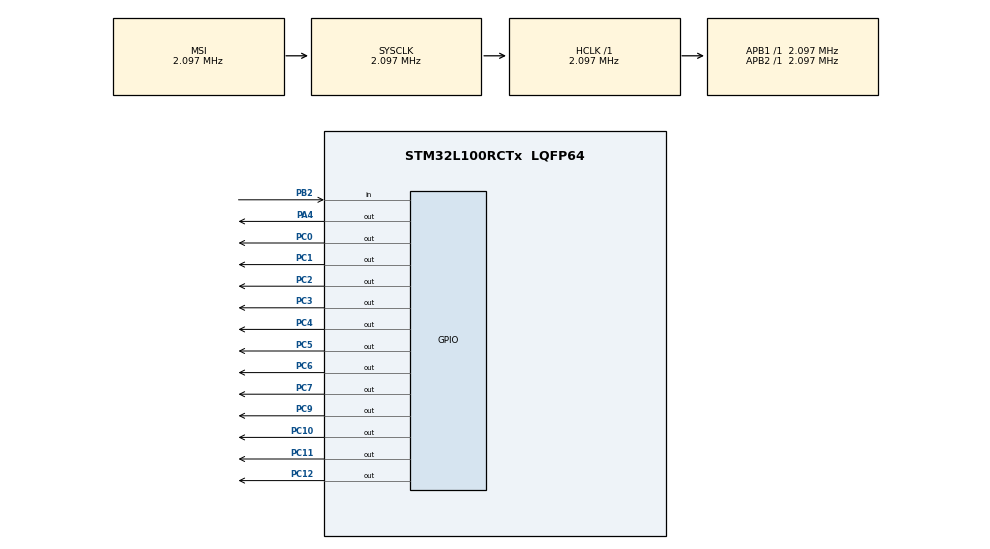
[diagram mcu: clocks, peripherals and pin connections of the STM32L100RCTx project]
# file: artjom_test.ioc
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Mcu.Family=STM32L1
Mcu.Name=STM32L100RCTx
Mcu.Package=LQFP64
NVIC.PriorityGroup=NVIC_PRIORITYGROUP_4
PA4.Signal=GPIO_Output
PB2.Signal=GPIO_Input
PC0.Signal=GPIO_Output
PC1.Signal=GPIO_Output
PC10.Signal=GPIO_Output
PC11.Signal=GPIO_Output
PC12.Signal=GPIO_Output
PC2.Signal=GPIO_Output
PC3.Signal=GPIO_Output
PC4.Signal=GPIO_Output
PC5.Signal=GPIO_Output
PC6.Signal=GPIO_Output
PC7.Signal=GPIO_Output
PC9.Signal=GPIO_Output
ProjectManager.HeapSize=0x200
ProjectManager.StackSize=0x400
ProjectManager.TargetToolchain=STM32CubeIDE
RCC.48MHZClocksFreq_Value=32000000
RCC.AHBFreq_Value=2097000
RCC.APB1Freq_Value=2097000
RCC.APB1TimFreq_Value=2097000
RCC.APB2Freq_Value=2097000
RCC.APB2TimFreq_Value=2097000
RCC.HCLKFreq_Value=2097000
RCC.HSE_VALUE=24000000
RCC.HSI_VALUE=16000000
RCC.LSE_VALUE=32768
RCC.MSI_VALUE=2097000
RCC.PLLDIV=RCC_PLL_DIV3
RCC.PLLMUL=RCC_PLL_MUL4
RCC.RTCClockSelection=RCC_RTCCLKSOURCE_LSI
RCC.RTCClockSelectionVirtual=RCC_RTCCLKSOURCE_LSE
RCC.SYSCLKFreq_VALUE=2097000
RCC.VCOOutputFreq_Value=64000000
board=custom

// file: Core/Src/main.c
/* USER CODE BEGIN Header */
/**
  ******************************************************************************
  * @file           : main.c
  * @brief          : Main program body
  ******************************************************************************
  * @attention
  *
  * Copyright (c) 2024 STMicroelectronics.
  * All rights reserved.
  *
  * This software is licensed under terms that can be found in the LICENSE file
  * in the root directory of this software component.
  * If no LICENSE file comes with this software, it is provided AS-IS.
  *
  ******************************************************************************
  */
/* USER CODE END Header */
#include "main.h"

/* USER CODE BEGIN PTD */
#define byte unsigned int
#define bit int
/* USER CODE END PTD */

void SystemClock_Config(void);
static void MX_GPIO_Init(void);
/* USER CODE BEGIN PFP */

const uint16_t pins = { GPIO_PIN_0, GPIO_PIN_1, GPIO_PIN_2, GPIO_PIN_3, GPIO_PIN_4, GPIO_PIN_5, GPIO_PIN_6, GPIO_PIN_7, GPIO_PIN_8, GPIO_PIN_9 };

const int Logo122[4][122]=//122x32 pixel, каждые 8 вертикальных точек собраны в байт
	{
		{	0x0E,0x11,0x21,0x42,0x84,0x42,0x21,0x11,0x0E,0x00,0x00,0x00,0x00,0x00,0x00,0x00,
			0x0E,0x11,0x21,0x42,0x84,0x42,0x21,0x11,0x0E,0x00,0x00,0x00,0x00,0x00,0x00,0x00,
			0x0E,0x11,0x21,0x42,0x84,0x42,0x21,0x11,0x0E,0x00,0x00,0x00,0x00,0x00,0x00,0x00,
			0x0E,0x11,0x21,0x42,0x84,0x42,0x21,0x11,0x0E,0x00,0x00,0x00,0x00,0x00,0x00,0x00,
			0x0E,0x11,0x21,0x42,0x84,0x42,0x21,0x11,0x0E,0x00,0x00,0x00,0x00,0x00,0x00,0x00,
			0x0E,0x11,0x21,0x42,0x84,0x42,0x21,0x11,0x0E,0x00,0x00,0x00,0x00,0x00,0x00,0x00,
			0x0E,0x11,0x21,0x42,0x84,0x42,0x21,0x11,0x0E,0x00,0x00,0x00,0x00,0x00,0x00,0x00,
			0x0E,0x11,0x21,0x42,0x84,0x42,0x21,0x11,0x0E,0x00
		},
		{	0x0E,0x11,0x21,0x42,0x84,0x42,0x21,0x11,0x0E,0x00,0x00,0x00,0x00,0x00,0x00,0x00,
			0x0E,0x11,0x21,0x42,0x84,0x42,0x21,0x11,0x0E,0x00,0x00,0x00,0x00,0x00,0x00,0x00,
			0x0E,0x11,0x21,0x42,0x84,0x42,0x21,0x11,0x0E,0x00,0x00,0x00,0x00,0x00,0x00,0x00,
			0x0E,0x11,0x21,0x42,0x84,0x42,0x21,0x11,0x0E,0x00,0x00,0x00,0x00,0x00,0x00,0x00,
			0x0E,0x11,0x21,0x42,0x84,0x42,0x21,0x11,0x0E,0x00,0x00,0x00,0x00,0x00,0x00,0x00,
			0x0E,0x11,0x21,0x42,0x84,0x42,0x21,0x11,0x0E,0x00,0x00,0x00,0x00,0x00,0x00,0x00,
			0x0E,0x11,0x21,0x42,0x84,0x42,0x21,0x11,0x0E,0x00,0x00,0x00,0x00,0x00,0x00,0x00,
			0x0E,0x11,0x21,0x42,0x84,0x42,0x21,0x11,0x0E,0x00
		},
		{	0x0E,0x11,0x21,0x42,0x84,0x42,0x21,0x11,0x0E,0x00,0x00,0x00,0x00,0x00,0x00,0x00,
			0x0E,0x11,0x21,0x42,0x84,0x42,0x21,0x11,0x0E,0x00,0x00,0x00,0x00,0x00,0x00,0x00,
			0x0E,0x11,0x21,0x42,0x84,0x42,0x21,0x11,0x0E,0x00,0x00,0x00,0x00,0x00,0x00,0x00,
			0x0E,0x11,0x21,0x42,0x84,0x42,0x21,0x11,0x0E,0x00,0x00,0x00,0x00,0x00,0x00,0x00,
			0x0E,0x11,0x21,0x42,0x84,0x42,0x21,0x11,0x0E,0x00,0x00,0x00,0x00,0x00,0x00,0x00,
			0x0E,0x11,0x21,0x42,0x84,0x42,0x21,0x11,0x0E,0x00,0x00,0x00,0x00,0x00,0x00,0x00,
			0x0E,0x11,0x21,0x42,0x84,0x42,0x21,0x11,0x0E,0x00,0x00,0x00,0x00,0x00,0x00,0x00,
			0x0E,0x11,0x21,0x42,0x84,0x42,0x21,0x11,0x0E,0x00
		},
		{	0x0E,0x11,0x21,0x42,0x84,0x42,0x21,0x11,0x0E,0x00,0x00,0x00,0x00,0x00,0x00,0x00,
			0x0E,0x11,0x21,0x42,0x84,0x42,0x21,0x11,0x0E,0x00,0x00,0x00,0x00,0x00,0x00,0x00,
			0x0E,0x11,0x21,0x42,0x84,0x42,0x21,0x11,0x0E,0x00,0x00,0x00,0x00,0x00,0x00,0x00,
			0x0E,0x11,0x21,0x42,0x84,0x42,0x21,0x11,0x0E,0x00,0x00,0x00,0x00,0x00,0x00,0x00,
			0x0E,0x11,0x21,0x42,0x84,0x42,0x21,0x11,0x0E,0x00,0x00,0x00,0x00,0x00,0x00,0x00,
			0x0E,0x11,0x21,0x42,0x84,0x42,0x21,0x11,0x0E,0x00,0x00,0x00,0x00,0x00,0x00,0x00,
			0x0E,0x11,0x21,0x42,0x84,0x42,0x21,0x11,0x0E,0x00,0x00,0x00,0x00,0x00,0x00,0x00,
			0x0E,0x11,0x21,0x42,0x84,0x42,0x21,0x11,0x0E,0x00
		}
	};

/* USER CODE END PFP */

/* USER CODE BEGIN 0 */

int get_nth_bit(int by, int n) {
	unsigned int mask = 1 << n;
	return by & mask;
}

// Процедура выдачи байта в индикатор
void write_byte_lcd_indic(byte b, bit cd, bit lr) {
	// RW IS ALWAYS GROUNDED
	HAL_GPIO_WritePin(GPIOC, GPIO_PIN_9, cd); //Выдача байта в индикатор как данных или команды LCD_A0
	HAL_GPIO_WritePin(GPIOC, GPIO_PIN_12, lr); // LCD.D=b; //Выбрать кристалл индикатора и выдать байт на шину данных индикатора

	HAL_GPIO_WritePin(GPIOC, GPIO_PIN_0, get_nth_bit(b, 0));
	auto readpin = get_nth_bit(b, 0);
	HAL_GPIO_WritePin(GPIOC, GPIO_PIN_1, get_nth_bit(b, 1));
	readpin = get_nth_bit(b, 1);
	HAL_GPIO_WritePin(GPIOC, GPIO_PIN_2, get_nth_bit(b, 2));
	readpin = get_nth_bit(b, 2);
	HAL_GPIO_WritePin(GPIOC, GPIO_PIN_3, get_nth_bit(b, 3));
	readpin = get_nth_bit(b, 3);
	HAL_GPIO_WritePin(GPIOC, GPIO_PIN_4, get_nth_bit(b, 4));
	readpin = get_nth_bit(b, 4);
	HAL_GPIO_WritePin(GPIOC, GPIO_PIN_5, get_nth_bit(b, 5));
	readpin = get_nth_bit(b, 5);
	HAL_GPIO_WritePin(GPIOC, GPIO_PIN_6, get_nth_bit(b, 6));
	readpin = get_nth_bit(b, 6);
	HAL_GPIO_WritePin(GPIOC, GPIO_PIN_7, get_nth_bit(b, 7));
	readpin = get_nth_bit(b, 7);

	HAL_Delay(2);
	HAL_GPIO_WritePin(GPIOC, GPIO_PIN_10, 0);
	HAL_Delay(2);
	HAL_GPIO_WritePin(GPIOC, GPIO_PIN_10, 1);
	HAL_Delay(2);
}

byte read_byte_lcd_indic(bit cd, bit lr) {
byte b;
//При необходимости настроить здесь шину данных на ввод
	write_byte_lcd_indic(0xE0, 0, lr); // LCD.RW=1;
	HAL_GPIO_WritePin(GPIOC, GPIO_PIN_9, cd); // LCD.A0=cd;
	HAL_GPIO_WritePin(GPIOC, GPIO_PIN_12, lr); // LCD.CS=lr;		//Выбрать нужный кристалл индикатора
	HAL_Delay(1);		//Это время предустановки адреса (tAW)
	HAL_GPIO_WritePin(GPIOC, GPIO_PIN_10, 0); // LCD.E=0;
	HAL_Delay(1);	//Минимально допустимая длительность сигнала E=0 (время доступа (tACC) попало сюда)
  b = HAL_GPIO_ReadPin(GPIOC, GPIO_PIN_0) << 0;
  b = HAL_GPIO_ReadPin(GPIOC, GPIO_PIN_1) << 1;
  b = HAL_GPIO_ReadPin(GPIOC, GPIO_PIN_2) << 2;
  b = HAL_GPIO_ReadPin(GPIOC, GPIO_PIN_3) << 3;
  b = HAL_GPIO_ReadPin(GPIOC, GPIO_PIN_4) << 4;
  b = HAL_GPIO_ReadPin(GPIOC, GPIO_PIN_5) << 5;
  b = HAL_GPIO_ReadPin(GPIOC, GPIO_PIN_6) << 6;
  b = HAL_GPIO_ReadPin(GPIOC, GPIO_PIN_7) << 7;
	HAL_GPIO_WritePin(GPIOC, GPIO_PIN_10, 1); // LCD.E=1;		//Сбросить сигнал E индикатору
	HAL_Delay(1);	//Минимально допустимый интервал между сигналами E=0

	write_byte_lcd_indic(0xEE, 0, lr); // LCD.RW = 0;

	return b;		//Вернуть прочитанный байт
}

void write_code_l(byte b) { write_byte_lcd_indic(b, 0, 1); }
void write_code_r(byte b) { write_byte_lcd_indic(b, 0, 0); }

void write_data_l(byte b) { write_byte_lcd_indic(b, 1, 1); }
void write_data_r(byte b) { write_byte_lcd_indic(b, 1, 0); }

byte read_data_l(void) { return read_byte_lcd_indic(1,1); }
byte read_data_r(void) { return read_byte_lcd_indic(1,0); }

byte read_status_l(void) { return read_byte_lcd_indic(0,1); }
byte read_status_r(void) { return read_byte_lcd_indic(0,0); }

void point_set(byte x, byte y, bit c) {//Записать одну точку в индикатор (координата 0,0 в левом верхнем углу индикатора)
byte c8;//Временное хранение считаного из индикатора байта
byte m8;//Маска нужного бита в байте
	if ((x>121)||(y>31)) return;//Выход за пределы индикатора
	if (x<61) {//Выводить в левую половину индикатора
		write_code_l(0xB8|(y>>3));//Установить нужную страницу индикатора
		write_code_l(0x13+x);//Установить адрес нужного байта
		c8=ReadDataL();//Фиктивное чтение
		c8=ReadDataL();//Чтение нужного байта из индикатора
		m8=1<<(y&0x07);//Вычислить маску нужного бита в байте
		if (c==1) {	//Зажигать точку?
			c8|=m8; //Установить нужный бит в байте
		}
		else	{	//Или гасить точку?
			c8&=~m8;//Сбросить нужный бит в байте
		}
		write_code_l(0x13+x);//Снова установить адрес нужного байта
		write_data_l(c8);//Записать изменённый байт обратно в индикатор
	} else {//Выводить в правую половину индикатора
		write_code_r(0xB8|(y>>3));//Установить нужную страницу индикатора
		write_code_r(x-61);//Установить адрес нужного байта
		c8=ReadDataR();//Фиктивное чтение
		c8=ReadDataR();//Чтение нужного байта из индикатора
		m8=1<<(y&0x07);//Вычислить маску нужного бита в байте
		if (c==1) { c8|=m8; }//Установить нужный бит в байте
		else { c8&=~m8; }//Сбросить нужный бит в байте
		write_code_r(x-61);//Снова установить адрес нужного байта
		write_data_r(c8);//Записать изменённый байт обратно в индикатор
	}
}

void draw() {
	byte	p;//Номер текущей страницы индикатора
	byte	c;//Позиция по горизонтали выводимого байта
	/*
	write_data_l(0xFF);
	write_data_r(0xFF);
	write_data_l(0xFF);
	write_data_r(0xFF);
	write_data_l(0xFF);
	write_data_r(0xFF);
	write_data_l(0xFF);
	write_data_r(0xFF);
	*/
	for(p=0; p<4; p++) {//Цикл по всем 4-м страницам индикатора
		write_code_l(p|0xB8);//Установка текущей страницы для левого кристалла индикатора
		write_code_l(0x13);//Установка текущего адреса для записи данных в левую отображаемую позицию левой половины индикатора
		for(c=0; c<61; c++) {//Цикл вывода данных в левую половину индикатора
			write_data_l(Logo122[p][c]);//Вывод очередного байта в индикатор
		}
		write_code_r(p|0xB8);//Установка текущей страницы для правого кристалла индикатора
		write_code_r(0x00);//Установка текущего адреса для записи данных в левую отображаемую позицию правой половины индикатора
		for(c=61; c<122; c++) {//Цикл вывода данных в правую половину индикатора
			write_data_r(Logo122[p][c]);//Вывод очередного байта в индикатор
		}
	}
}

/*
 * Для начальной установки индикатора необходимо выполнить следующие действия:
1. после подачи напряжения питания удерживать вывод RES в состоянии логического “0” еще не менее 10 мкс;
2. подать перепад на вывод RES c логического “0” в логическую “1”, длительность фронта не более 10 мкс;
3. ожидать сброса бита RESET в байте состояния или выждать не менее 2 мс;
4. подать команду снятия флага RMW (END);
5. подать команду включения обычного режима работы (Static Drive ON/OFF);
6. подать команду выбора мультиплекса (Duty Select);
7. подать команду включения дисплея (Display ON/OFF).
 *
 */
void lcd_init() {
	HAL_GPIO_WritePin(GPIOC, GPIO_PIN_10, 1); // Начальное значение сигнала индикатору LCD_E
	HAL_GPIO_WritePin(GPIOC, GPIO_PIN_11, 0); // LSD_RES
	HAL_Delay(1);
	HAL_GPIO_WritePin(GPIOC, GPIO_PIN_11, 1); //Снять сигнал RES
	HAL_Delay(2);

	// RESET CMD
//	HAL_GPIO_WritePin(GPIOC, GPIO_PIN_9, 0); // LCD_A to 0
//	write_code_l(0xE2);
//	write_code_r(0xE2);

	// RMW OFF
	write_code_l(0xEE);
	write_code_r(0xEE);

	// Static drive ON
	write_code_l(0xA4);
	write_code_r(0xA4);

	// Duty select
	write_code_l(0xA9);//Мультиплекс 1/32
	write_code_r(0xA9);//Мультиплекс 1/32

	// check display on
//	volatile auto state_l = read_status_l();
//	volatile auto state_r = read_status_r();

	HAL_Delay(1);

	// Set display start line
	write_code_l(0xC0);
	write_code_r(0xC0);

//	// Set page
//	write_code_l(0x5C);
//	write_code_r(0x5C);
//
//	// Set column
//	write_code_l(0);
//	write_code_r(0);

	// Display ON
	write_code_l(0xAF);
	write_code_r(0xAF);

	// ADC select right
	write_code_l(0xA1);
	write_code_r(0xA0);

	volatile auto state_l = read_status_l();
	volatile auto state_r = read_status_r();

	// ====== DRAW ======

	// Write data
	HAL_GPIO_WritePin(GPIOC, GPIO_PIN_9, 1); // LCD_A to 1
	HAL_Delay(2);
	draw();
	HAL_GPIO_WritePin(GPIOC, GPIO_PIN_9, 0); // LCD_A to 1

}

void on_click_turn_on_display()
{
	/*
	 * paster before loop
	   volatile int check = 0;
  volatile readpin1 = HAL_GPIO_ReadPin( GPIOC, GPIO_PIN_2);
  uint8_t tx_buff[]={0,1,2,3,4,5,6,7,8,9};

	 */
  if(HAL_GPIO_ReadPin( GPIOB, GPIO_PIN_2)) {
	  HAL_GPIO_WritePin(GPIOA, GPIO_PIN_4, GPIO_PIN_RESET);

  } else {
	  HAL_GPIO_WritePin(GPIOA, GPIO_PIN_4, GPIO_PIN_SET);
  }
}

/* USER CODE END 0 */

int main(void)
{

  /* MCU Configuration--------------------------------------------------------*/

  /* Reset of all peripherals, Initializes the Flash interface and the Systick. */
  HAL_Init();

  /* Configure the system clock */
  SystemClock_Config();

  /* Initialize all configured peripherals */
  MX_GPIO_Init();

  /* Infinite loop */
  while (1)
  {
	  if(!HAL_GPIO_ReadPin(GPIOB, GPIO_PIN_2)) {
		  // LED ON
		  HAL_GPIO_WritePin(GPIOA, GPIO_PIN_4, SET);
		  // LCD ON
		  lcd_init();
	  }
  }
}

void SystemClock_Config(void)
{
  RCC_OscInitTypeDef RCC_OscInitStruct = {0};
  RCC_ClkInitTypeDef RCC_ClkInitStruct = {0};

  /** Configure the main internal regulator output voltage
  */
  __HAL_PWR_VOLTAGESCALING_CONFIG(PWR_REGULATOR_VOLTAGE_SCALE1);

  /** Initializes the RCC Oscillators according to the specified parameters
  * in the RCC_OscInitTypeDef structure.
  */
  RCC_OscInitStruct.OscillatorType = RCC_OSCILLATORTYPE_MSI;
  RCC_OscInitStruct.MSIState = RCC_MSI_ON;
  RCC_OscInitStruct.MSICalibrationValue = 0;
  RCC_OscInitStruct.MSIClockRange = RCC_MSIRANGE_5;
  RCC_OscInitStruct.PLL.PLLState = RCC_PLL_NONE;
  if (HAL_RCC_OscConfig(&RCC_OscInitStruct) != HAL_OK)
  {
    Error_Handler();
  }

  /** Initializes the CPU, AHB and APB buses clocks
  */
  RCC_ClkInitStruct.ClockType = RCC_CLOCKTYPE_HCLK|RCC_CLOCKTYPE_SYSCLK
                              |RCC_CLOCKTYPE_PCLK1|RCC_CLOCKTYPE_PCLK2;
  RCC_ClkInitStruct.SYSCLKSource = RCC_SYSCLKSOURCE_MSI;
  RCC_ClkInitStruct.AHBCLKDivider = RCC_SYSCLK_DIV1;
  RCC_ClkInitStruct.APB1CLKDivider = RCC_HCLK_DIV1;
  RCC_ClkInitStruct.APB2CLKDivider = RCC_HCLK_DIV1;

  if (HAL_RCC_ClockConfig(&RCC_ClkInitStruct, FLASH_LATENCY_0) != HAL_OK)
  {
    Error_Handler();
  }
}

static void MX_GPIO_Init(void)
{
  GPIO_InitTypeDef GPIO_InitStruct = {0};

  /* GPIO Ports Clock Enable */
  __HAL_RCC_GPIOC_CLK_ENABLE();
  __HAL_RCC_GPIOA_CLK_ENABLE();
  __HAL_RCC_GPIOB_CLK_ENABLE();

  /*Configure GPIO pin Output Level */
  HAL_GPIO_WritePin(GPIOC, GPIO_PIN_0|GPIO_PIN_1|GPIO_PIN_2|GPIO_PIN_3
                          |GPIO_PIN_4|GPIO_PIN_5|GPIO_PIN_6|GPIO_PIN_7
                          |GPIO_PIN_9|GPIO_PIN_10|GPIO_PIN_11|GPIO_PIN_12, GPIO_PIN_RESET);

  /*Configure GPIO pin Output Level */
  HAL_GPIO_WritePin(GPIOA, GPIO_PIN_4, GPIO_PIN_RESET);

  /*Configure GPIO pins : PC0 PC1 PC2 PC3
                           PC4 PC5 PC6 PC7
                           PC9 PC10 PC11 PC12 */
  GPIO_InitStruct.Pin = GPIO_PIN_0|GPIO_PIN_1|GPIO_PIN_2|GPIO_PIN_3
                          |GPIO_PIN_4|GPIO_PIN_5|GPIO_PIN_6|GPIO_PIN_7
                          |GPIO_PIN_9|GPIO_PIN_10|GPIO_PIN_11|GPIO_PIN_12;
  GPIO_InitStruct.Mode = GPIO_MODE_OUTPUT_PP;
  GPIO_InitStruct.Pull = GPIO_NOPULL;
  GPIO_InitStruct.Speed = GPIO_SPEED_FREQ_LOW;
  HAL_GPIO_Init(GPIOC, &GPIO_InitStruct);

  /*Configure GPIO pin : PA4 */
  GPIO_InitStruct.Pin = GPIO_PIN_4;
  GPIO_InitStruct.Mode = GPIO_MODE_OUTPUT_PP;
  GPIO_InitStruct.Pull = GPIO_NOPULL;
  GPIO_InitStruct.Speed = GPIO_SPEED_FREQ_LOW;
  HAL_GPIO_Init(GPIOA, &GPIO_InitStruct);

  /*Configure GPIO pin : PB2 */
  GPIO_InitStruct.Pin = GPIO_PIN_2;
  GPIO_InitStruct.Mode = GPIO_MODE_INPUT;
  GPIO_InitStruct.Pull = GPIO_NOPULL;
  HAL_GPIO_Init(GPIOB, &GPIO_InitStruct);

}

void Error_Handler(void)
{
  __disable_irq();
  while (1)
  {
  }
}
